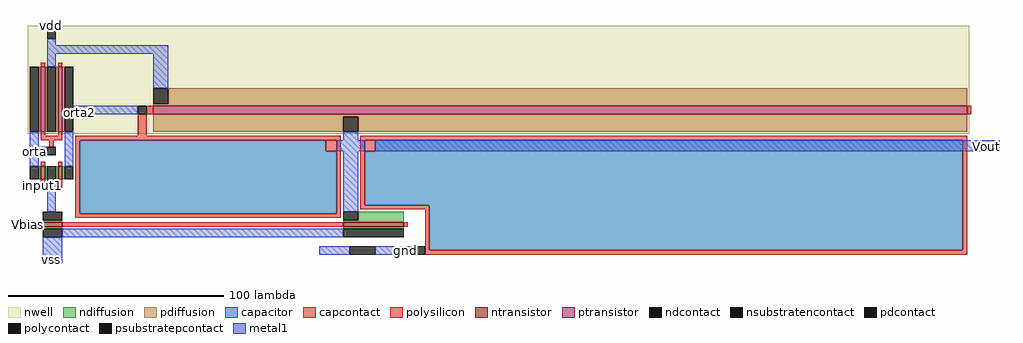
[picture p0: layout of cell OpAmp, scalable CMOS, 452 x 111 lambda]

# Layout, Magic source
magic
tech scmos
<< nwell >>
rect 28 26 464 76
<< polysilicon >>
rect 34 57 36 59
rect 42 57 44 59
rect 83 35 86 39
rect 463 35 465 39
rect 34 25 36 27
rect 42 25 44 27
rect 79 25 83 35
rect 34 23 44 25
rect 50 23 173 25
rect 38 20 40 23
rect 34 11 36 13
rect 42 11 44 13
rect 34 1 36 5
rect 42 1 44 5
rect 50 -11 52 23
rect 171 -11 173 23
rect 182 23 463 25
rect 182 -7 184 23
rect 182 -9 214 -7
rect 50 -13 173 -11
rect 26 -17 35 -15
rect 44 -17 174 -15
rect 202 -17 204 -15
rect 212 -28 214 -9
rect 461 -28 463 23
rect 212 -30 463 -28
<< capacitor >>
rect 52 18 166 23
rect 52 -11 171 18
rect 189 18 461 23
rect 184 -7 461 18
rect 214 -28 461 -7
<< ndiffusion >>
rect 33 5 34 11
rect 36 5 37 11
rect 41 5 42 11
rect 44 5 45 11
rect 35 -15 44 -14
rect 181 -14 202 -10
rect 174 -15 202 -14
rect 35 -18 44 -17
rect 174 -18 202 -17
<< pdiffusion >>
rect 33 27 34 57
rect 36 27 37 57
rect 41 27 42 57
rect 44 27 45 57
rect 93 40 463 47
rect 86 39 463 40
rect 86 34 463 35
rect 86 27 174 34
rect 181 27 463 34
<< metal1 >>
rect 37 74 41 77
rect 37 67 41 70
rect 37 63 93 67
rect 37 57 41 63
rect 86 47 93 63
rect 49 35 79 39
rect 29 20 33 27
rect 29 16 37 20
rect 29 11 33 16
rect 45 11 49 27
rect 174 23 181 27
rect 171 18 184 23
rect 189 18 478 23
rect 37 -10 41 5
rect 174 -10 181 18
rect 44 -22 174 -18
rect 35 -34 44 -22
rect 163 -30 177 -26
rect 189 -30 208 -26
<< ntransistor >>
rect 34 5 36 11
rect 42 5 44 11
rect 35 -17 44 -15
rect 174 -17 202 -15
<< ptransistor >>
rect 34 27 36 57
rect 42 27 44 57
rect 86 35 463 39
<< polycontact >>
rect 79 35 83 39
rect 37 16 41 20
rect 208 -30 212 -26
<< ndcontact >>
rect 29 5 33 11
rect 37 5 41 11
rect 45 5 49 11
rect 35 -14 44 -10
rect 174 -14 181 -10
rect 35 -22 44 -18
rect 174 -22 202 -18
<< pdcontact >>
rect 29 27 33 57
rect 37 27 41 57
rect 45 27 49 57
rect 86 40 93 47
rect 174 27 181 34
<< capcontact >>
rect 166 18 171 23
rect 184 18 189 23
<< psubstratepcontact >>
rect 177 -30 189 -26
<< nsubstratencontact >>
rect 37 70 41 74
<< labels >>
rlabel metal1 472 20 472 20 1 Vout
rlabel metal1 203 -28 203 -28 1 gnd
rlabel polysilicon 35 2 35 2 1 input1
rlabel metal1 38 2 38 2 1 alt
rlabel polysilicon 43 2 43 2 1 input2
rlabel metal1 31 18 31 18 1 orta
rlabel metal1 39 76 39 76 5 vdd
rlabel metal1 52 36 52 36 1 orta2
rlabel metal1 39 -32 39 -32 1 vss
rlabel polysilicon 28 -16 28 -16 3 Vbias
<< end >>
